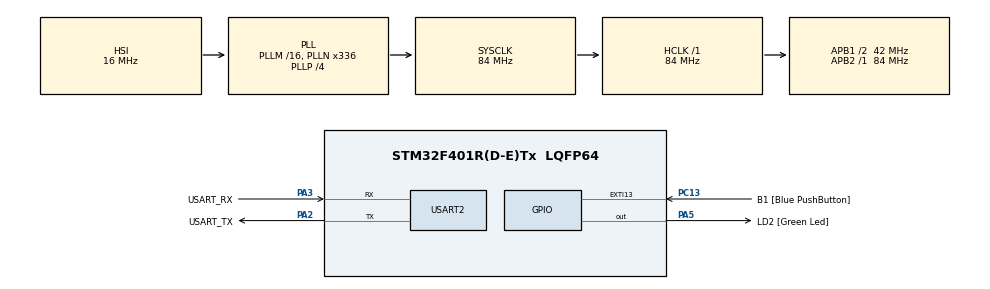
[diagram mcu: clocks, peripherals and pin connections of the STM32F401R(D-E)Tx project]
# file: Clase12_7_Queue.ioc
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FREERTOS.Tasks01=defaultTask,0,128,StartDefaultTask,Default,NULL,Dynamic,NULL,NULL
Mcu.Family=STM32F4
Mcu.Name=STM32F401R(D-E)Tx
Mcu.Package=LQFP64
NVIC.EXTI15_10_IRQn=true\:5\:0\:false\:false\:true\:true\:true\:true
NVIC.PriorityGroup=NVIC_PRIORITYGROUP_4
NVIC.TIM1_UP_TIM10_IRQn=true\:15\:0\:false\:false\:true\:false\:false\:true
NVIC.TIM2_IRQn=true\:5\:0\:false\:false\:true\:true\:true\:true
NVIC.TimeBase=TIM1_UP_TIM10_IRQn
NVIC.TimeBaseIP=TIM1
PA13.GPIO_Label=TMS
PA13.Mode=Serial_Wire
PA13.Signal=SYS_JTMS-SWDIO
PA14.GPIO_Label=TCK
PA14.Mode=Serial_Wire
PA14.Signal=SYS_JTCK-SWCLK
PA2.GPIO_Label=USART_TX
PA2.GPIO_Mode=GPIO_MODE_AF_PP
PA2.GPIO_PuPd=GPIO_NOPULL
PA2.GPIO_Speed=GPIO_SPEED_FREQ_LOW
PA2.Mode=Asynchronous
PA2.Signal=USART2_TX
PA3.GPIO_Label=USART_RX
PA3.GPIO_Mode=GPIO_MODE_AF_PP
PA3.GPIO_PuPd=GPIO_NOPULL
PA3.GPIO_Speed=GPIO_SPEED_FREQ_LOW
PA3.Mode=Asynchronous
PA3.Signal=USART2_RX
PA5.GPIO_Label=LD2 [Green Led]
PA5.GPIO_Mode=GPIO_MODE_OUTPUT_PP
PA5.GPIO_PuPd=GPIO_NOPULL
PA5.GPIO_Speed=GPIO_SPEED_FREQ_LOW
PA5.Signal=GPIO_Output
PB3.GPIO_Label=SWO
PB3.Signal=SYS_JTDO-SWO
PC13-ANTI_TAMP.GPIO_Label=B1 [Blue PushButton]
PC13-ANTI_TAMP.GPIO_ModeDefaultEXTI=GPIO_MODE_IT_RISING_FALLING
PC13-ANTI_TAMP.GPIO_PuPd=GPIO_NOPULL
PC13-ANTI_TAMP.Signal=GPXTI13
PC14-OSC32_IN.Mode=LSE-External-Oscillator
PC14-OSC32_IN.Signal=RCC_OSC32_IN
PC15-OSC32_OUT.Mode=LSE-External-Oscillator
PC15-OSC32_OUT.Signal=RCC_OSC32_OUT
PH0\ -\ OSC_IN.Mode=HSE-External-Clock-Source
PH0\ -\ OSC_IN.Signal=RCC_OSC_IN
PH1\ -\ OSC_OUT.Mode=HSE-External-Clock-Source
PH1\ -\ OSC_OUT.Signal=RCC_OSC_OUT
ProjectManager.HeapSize=0x200
ProjectManager.StackSize=0x400
ProjectManager.TargetToolchain=STM32CubeIDE
RCC.48MHZClocksFreq_Value=48000000
RCC.AHBFreq_Value=84000000
RCC.APB1CLKDivider=RCC_HCLK_DIV2
RCC.APB1Freq_Value=42000000
RCC.APB1TimFreq_Value=84000000
RCC.APB2Freq_Value=84000000
RCC.APB2TimFreq_Value=84000000
RCC.CortexFreq_Value=84000000
RCC.HCLKFreq_Value=84000000
RCC.HSE_VALUE=8000000
RCC.HSI_VALUE=16000000
RCC.PLLN=336
RCC.PLLP=RCC_PLLP_DIV4
RCC.PLLQ=7
RCC.SYSCLKFreq_VALUE=84000000
RCC.SYSCLKSource=RCC_SYSCLKSOURCE_PLLCLK
RCC.VCOOutputFreq_Value=336000000
TIM2.Period=494967295
TIM2.Prescaler=8399
USART2.VirtualMode=VM_ASYNC
VP_FREERTOS_VS_CMSIS_V1.Mode=CMSIS_V1
VP_SYS_VS_tim1.Mode=TIM1
VP_TIM2_VS_ClockSourceINT.Mode=Internal
board=NUCLEO-F401RE

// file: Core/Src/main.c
/* USER CODE BEGIN Header */
/**
  ******************************************************************************
  * @file           : main.c
  * @brief          : Main program body
  ******************************************************************************
  * @attention
  *
  * Copyright (c) 2022 STMicroelectronics.
  * All rights reserved.
  *
  * This software is licensed under terms that can be found in the LICENSE file
  * in the root directory of this software component.
  * If no LICENSE file comes with this software, it is provided AS-IS.
  *
  ******************************************************************************
  */
/* USER CODE END Header */
#include "main.h"
#include "cmsis_os.h"

//JJUJU

/* USER CODE BEGIN PD */
#define SYS_TICK_MS (float)0.1
#define SYS_TICK_RTOS_MS 1
#define TOGGLE_0_5Hz 1000/SYS_TICK_RTOS_MS
#define TOGGLE_2Hz 250/SYS_TICK_RTOS_MS

/* USER CODE END PD */

TIM_HandleTypeDef htim2;

UART_HandleTypeDef huart2;

osThreadId defaultTaskHandle;
/* USER CODE BEGIN PV */

SemaphoreHandle_t sem_button;
SemaphoreHandle_t sem_toggle;

QueueHandle_t queue_com;

unsigned int time = 0;

/* USER CODE END PV */

void SystemClock_Config(void);
static void MX_GPIO_Init(void);
static void MX_USART2_UART_Init(void);
static void MX_TIM2_Init(void);
void StartDefaultTask(void const * argument);

/* USER CODE BEGIN PFP */

void HAL_GPIO_EXTI_Callback(uint16_t GPIO_Pin);
void Task_Toggle(void* pVParameters);
void Task_Time(void* pVParameters);

/* USER CODE END PFP */

int main(void)
{

  /* MCU Configuration--------------------------------------------------------*/

  /* Reset of all peripherals, Initializes the Flash interface and the Systick. */
  HAL_Init();

  /* USER CODE BEGIN Init */

  vSemaphoreCreateBinary(sem_button);
  vSemaphoreCreateBinary(sem_toggle);

  queue_com=xQueueCreate(1,sizeof(unsigned int));

  xSemaphoreTake(sem_button,0);
  xSemaphoreTake(sem_toggle,0);

  /* USER CODE END Init */

  /* Configure the system clock */
  SystemClock_Config();

  /* Initialize all configured peripherals */
  MX_GPIO_Init();
  MX_USART2_UART_Init();
  MX_TIM2_Init();

  /* Create the thread(s) */
  /* definition and creation of defaultTask */
  //osThreadDef(defaultTask, StartDefaultTask, osPriorityNormal, 0, 128);
  //defaultTaskHandle = osThreadCreate(osThread(defaultTask), NULL);

  /* USER CODE BEGIN RTOS_THREADS */
  /* add threads, ... */

  xTaskCreate(Task_Time, "Cuenta Timer", configMINIMAL_STACK_SIZE, NULL, tskIDLE_PRIORITY+2, NULL);
  xTaskCreate(Task_Toggle, "Toggle", configMINIMAL_STACK_SIZE, NULL, tskIDLE_PRIORITY+1, NULL);
  vTaskStartScheduler();

  /* USER CODE END RTOS_THREADS */

  /* Start scheduler */
  //osKernelStart();

  /* We should never get here as control is now taken by the scheduler */
  /* Infinite loop */
  while (1)
  {

  }
}

void SystemClock_Config(void)
{
  RCC_OscInitTypeDef RCC_OscInitStruct = {0};
  RCC_ClkInitTypeDef RCC_ClkInitStruct = {0};

  /** Configure the main internal regulator output voltage
  */
  __HAL_RCC_PWR_CLK_ENABLE();
  __HAL_PWR_VOLTAGESCALING_CONFIG(PWR_REGULATOR_VOLTAGE_SCALE2);
  /** Initializes the RCC Oscillators according to the specified parameters
  * in the RCC_OscInitTypeDef structure.
  */
  RCC_OscInitStruct.OscillatorType = RCC_OSCILLATORTYPE_HSI;
  RCC_OscInitStruct.HSIState = RCC_HSI_ON;
  RCC_OscInitStruct.HSICalibrationValue = RCC_HSICALIBRATION_DEFAULT;
  RCC_OscInitStruct.PLL.PLLState = RCC_PLL_ON;
  RCC_OscInitStruct.PLL.PLLSource = RCC_PLLSOURCE_HSI;
  RCC_OscInitStruct.PLL.PLLM = 16;
  RCC_OscInitStruct.PLL.PLLN = 336;
  RCC_OscInitStruct.PLL.PLLP = RCC_PLLP_DIV4;
  RCC_OscInitStruct.PLL.PLLQ = 7;
  if (HAL_RCC_OscConfig(&RCC_OscInitStruct) != HAL_OK)
  {
    Error_Handler();
  }
  /** Initializes the CPU, AHB and APB buses clocks
  */
  RCC_ClkInitStruct.ClockType = RCC_CLOCKTYPE_HCLK|RCC_CLOCKTYPE_SYSCLK
                              |RCC_CLOCKTYPE_PCLK1|RCC_CLOCKTYPE_PCLK2;
  RCC_ClkInitStruct.SYSCLKSource = RCC_SYSCLKSOURCE_PLLCLK;
  RCC_ClkInitStruct.AHBCLKDivider = RCC_SYSCLK_DIV1;
  RCC_ClkInitStruct.APB1CLKDivider = RCC_HCLK_DIV2;
  RCC_ClkInitStruct.APB2CLKDivider = RCC_HCLK_DIV1;

  if (HAL_RCC_ClockConfig(&RCC_ClkInitStruct, FLASH_LATENCY_2) != HAL_OK)
  {
    Error_Handler();
  }
}

static void MX_TIM2_Init(void)
{

  TIM_ClockConfigTypeDef sClockSourceConfig = {0};
  TIM_MasterConfigTypeDef sMasterConfig = {0};

  htim2.Instance = TIM2;
  htim2.Init.Prescaler = 8399;
  htim2.Init.CounterMode = TIM_COUNTERMODE_UP;
  htim2.Init.Period = 4294967295;
  htim2.Init.ClockDivision = TIM_CLOCKDIVISION_DIV1;
  htim2.Init.AutoReloadPreload = TIM_AUTORELOAD_PRELOAD_DISABLE;
  if (HAL_TIM_Base_Init(&htim2) != HAL_OK)
  {
    Error_Handler();
  }
  sClockSourceConfig.ClockSource = TIM_CLOCKSOURCE_INTERNAL;
  if (HAL_TIM_ConfigClockSource(&htim2, &sClockSourceConfig) != HAL_OK)
  {
    Error_Handler();
  }
  sMasterConfig.MasterOutputTrigger = TIM_TRGO_RESET;
  sMasterConfig.MasterSlaveMode = TIM_MASTERSLAVEMODE_DISABLE;
  if (HAL_TIMEx_MasterConfigSynchronization(&htim2, &sMasterConfig) != HAL_OK)
  {
    Error_Handler();
  }

}

static void MX_USART2_UART_Init(void)
{

  huart2.Instance = USART2;
  huart2.Init.BaudRate = 115200;
  huart2.Init.WordLength = UART_WORDLENGTH_8B;
  huart2.Init.StopBits = UART_STOPBITS_1;
  huart2.Init.Parity = UART_PARITY_NONE;
  huart2.Init.Mode = UART_MODE_TX_RX;
  huart2.Init.HwFlowCtl = UART_HWCONTROL_NONE;
  huart2.Init.OverSampling = UART_OVERSAMPLING_16;
  if (HAL_UART_Init(&huart2) != HAL_OK)
  {
    Error_Handler();
  }

}

static void MX_GPIO_Init(void)
{
  GPIO_InitTypeDef GPIO_InitStruct = {0};

  /* GPIO Ports Clock Enable */
  __HAL_RCC_GPIOC_CLK_ENABLE();
  __HAL_RCC_GPIOH_CLK_ENABLE();
  __HAL_RCC_GPIOA_CLK_ENABLE();
  __HAL_RCC_GPIOB_CLK_ENABLE();

  /*Configure GPIO pin Output Level */
  HAL_GPIO_WritePin(LD2_GPIO_Port, LD2_Pin, GPIO_PIN_RESET);

  /*Configure GPIO pin : B1_Pin */
  GPIO_InitStruct.Pin = B1_Pin;
  GPIO_InitStruct.Mode = GPIO_MODE_IT_RISING_FALLING;
  GPIO_InitStruct.Pull = GPIO_NOPULL;
  HAL_GPIO_Init(B1_GPIO_Port, &GPIO_InitStruct);

  /*Configure GPIO pin : LD2_Pin */
  GPIO_InitStruct.Pin = LD2_Pin;
  GPIO_InitStruct.Mode = GPIO_MODE_OUTPUT_PP;
  GPIO_InitStruct.Pull = GPIO_NOPULL;
  GPIO_InitStruct.Speed = GPIO_SPEED_FREQ_LOW;
  HAL_GPIO_Init(LD2_GPIO_Port, &GPIO_InitStruct);

  /* EXTI interrupt init*/
  HAL_NVIC_SetPriority(EXTI15_10_IRQn, 5, 0);
  HAL_NVIC_EnableIRQ(EXTI15_10_IRQn);

}

/* USER CODE BEGIN 4 */
void HAL_GPIO_EXTI_Callback(uint16_t GPIO_Pin)
{
	BaseType_t xHigherPriorityTaskWoken = pdFALSE;

	xSemaphoreGiveFromISR(sem_button,&xHigherPriorityTaskWoken);
	portYIELD_FROM_ISR( xHigherPriorityTaskWoken );

}

void Task_Toggle(void* pVParameters)
{
	unsigned int toggle = TOGGLE_0_5Hz;
	unsigned int valor_recibido;
	while(1)
	{
		if(xQueueReceive(queue_com, &valor_recibido, 0) == pdPASS)
		{

			if(valor_recibido <  2000/SYS_TICK_MS)
				toggle = TOGGLE_0_5Hz;
			else
				toggle = TOGGLE_2Hz;
		}
		HAL_GPIO_TogglePin(LD2_GPIO_Port, LD2_Pin);
		vTaskDelay(toggle);
	}

}
void Task_Time(void* pVParameters)
{

	while(1)
	{
		xSemaphoreTake(sem_button,portMAX_DELAY);

		if(HAL_GPIO_ReadPin(B1_GPIO_Port, B1_Pin) == 0)
		{
			time = __HAL_TIM_GET_COUNTER(&htim2);
			HAL_TIM_Base_Start(&htim2);

		}else
		{
			HAL_TIM_Base_Stop(&htim2);
			time = __HAL_TIM_GET_COUNTER(&htim2)-time;
			xQueueSend(queue_com,&time,portMAX_DELAY);

		}

	}
}
/* USER CODE END 4 */

void StartDefaultTask(void const * argument)
{
  for(;;)
  {
    osDelay(1);
  }
}

void HAL_TIM_PeriodElapsedCallback(TIM_HandleTypeDef *htim)
{
  if (htim->Instance == TIM1) {
    HAL_IncTick();
  }
}

void Error_Handler(void)
{
  __disable_irq();
  while (1)
  {
  }
}
